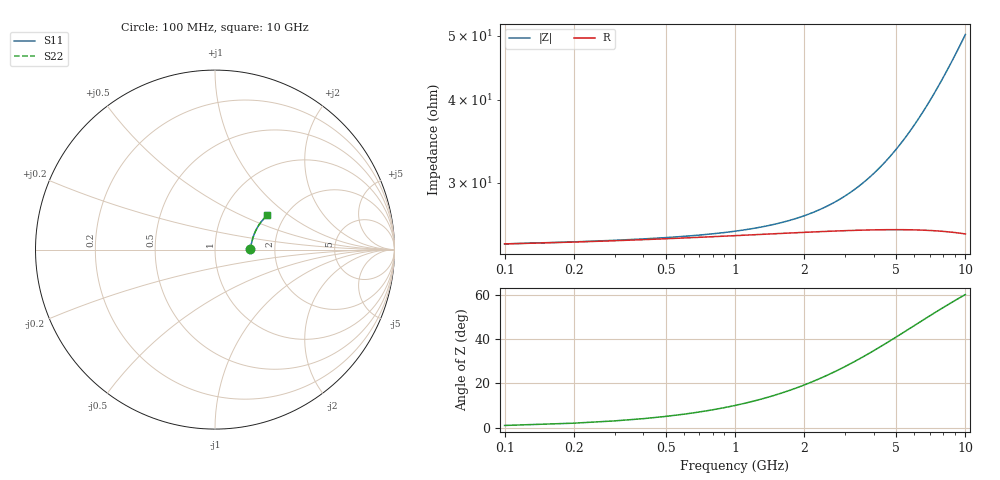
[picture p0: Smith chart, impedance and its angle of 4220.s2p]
# Hz S RI R 50.00
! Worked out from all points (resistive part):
!   100 points, 100 MHz to 10 GHz, reference 50 ohm
!   read as one part in series: R = 24.2 ohm at 100 MHz
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1e8  0.1951 0.00229  0.8049 -0.0034  0.8049 -0.0034  0.1951 0.00229
2e8  0.1961 0.00456  0.8039 -0.00679  0.8039 -0.00679  0.1961 0.00456
3e8  0.1969 0.00682  0.8031 -0.0102  0.8031 -0.0102  0.1969 0.00682
6e8  0.1987 0.0136  0.8013 -0.0203  0.8013 -0.0203  0.1987 0.0136
1.2e9  0.2016 0.0269  0.7983 -0.0403  0.7983 -0.0403  0.2016 0.0269
1.5e9  0.203 0.0336  0.7968 -0.0503  0.7968 -0.0503  0.203 0.0336
1.8e9  0.2045 0.0401  0.7953 -0.0602  0.7953 -0.0602  0.2045 0.0401
2.2e9  0.2066 0.0489  0.793 -0.0734  0.793 -0.0734  0.2066 0.0489
2.6e9  0.2089 0.0575  0.7906 -0.0865  0.7906 -0.0865  0.2089 0.0575
3e9  0.2115 0.066  0.7879 -0.0995  0.7879 -0.0995  0.2115 0.066
3.4e9  0.2142 0.0744  0.7849 -0.1124  0.7849 -0.1124  0.2142 0.0744
3.8e9  0.2172 0.0827  0.7818 -0.1252  0.7818 -0.1252  0.2172 0.0827
4.2e9  0.2205 0.0909  0.7783 -0.1378  0.7783 -0.1378  0.2205 0.0909
4.6e9  0.2239 0.099  0.7746 -0.1504  0.7746 -0.1504  0.2239 0.099
5.1e9  0.2286 0.1089  0.7696 -0.1658  0.7696 -0.1658  0.2286 0.1089
5.9e9  0.2368 0.1242  0.7607 -0.1901  0.7607 -0.1901  0.2368 0.1242
6.7e9  0.2459 0.1388  0.7509 -0.2137  0.7509 -0.2137  0.2459 0.1388
7.5e9  0.2559 0.1527  0.7402 -0.2366  0.7402 -0.2366  0.2559 0.1527
7.9e9  0.2611 0.1593  0.7345 -0.2477  0.7345 -0.2477  0.2611 0.1593
8.4e9  0.268 0.1674  0.7271 -0.2614  0.7271 -0.2614  0.268 0.1674
9.2e9  0.2795 0.1795  0.7147 -0.2826  0.7147 -0.2826  0.2795 0.1795
1e10  0.2916 0.1908  0.7015 -0.3029  0.7015 -0.3029  0.2916 0.1908
